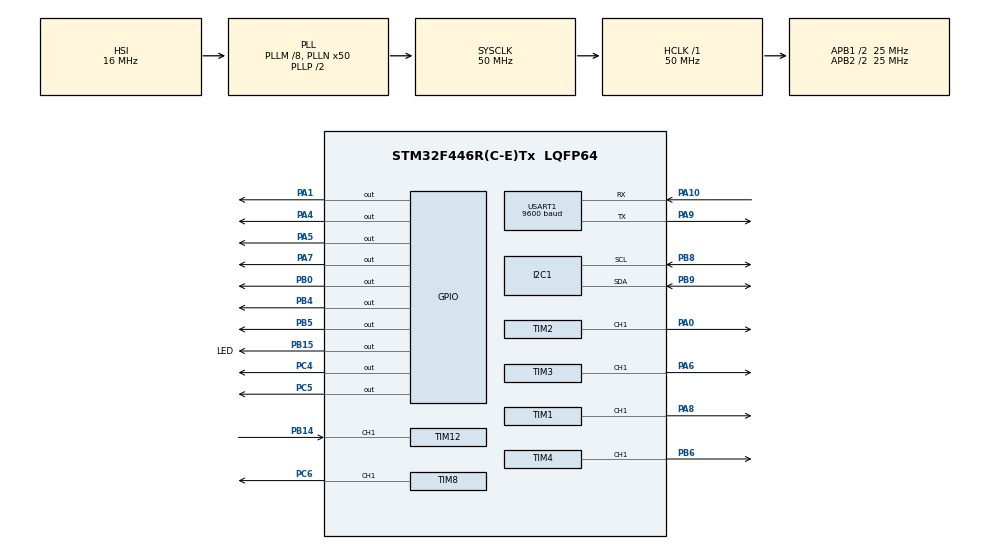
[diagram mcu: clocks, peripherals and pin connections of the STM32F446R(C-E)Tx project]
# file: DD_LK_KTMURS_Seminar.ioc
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Mcu.Family=STM32F4
Mcu.Name=STM32F446R(C-E)Tx
Mcu.Package=LQFP64
NVIC.PriorityGroup=NVIC_PRIORITYGROUP_4
NVIC.TIM8_BRK_TIM12_IRQn=true\:0\:0\:false\:false\:true\:true\:true\:true
NVIC.USART1_IRQn=true\:2\:0\:true\:false\:true\:true\:true\:true
PA0-WKUP.Signal=S_TIM2_CH1_ETR
PA1.Signal=GPIO_Output
PA10.Mode=Asynchronous
PA10.Signal=USART1_RX
PA13.Mode=Serial_Wire
PA13.Signal=SYS_JTMS-SWDIO
PA14.Mode=Serial_Wire
PA14.Signal=SYS_JTCK-SWCLK
PA4.Signal=GPIO_Output
PA5.Signal=GPIO_Output
PA6.Signal=S_TIM3_CH1
PA7.Signal=GPIO_Output
PA8.Signal=S_TIM1_CH1
PA9.Mode=Asynchronous
PA9.Signal=USART1_TX
PB0.Signal=GPIO_Output
PB14.Signal=S_TIM12_CH1
PB15.GPIO_Label=LED
PB15.Signal=GPIO_Output
PB4.Signal=GPIO_Output
PB5.Signal=GPIO_Output
PB6.Signal=S_TIM4_CH1
PB8.GPIO_Pu=GPIO_PULLUP
PB8.Mode=I2C
PB8.Signal=I2C1_SCL
PB9.GPIO_Pu=GPIO_PULLUP
PB9.Mode=I2C
PB9.Signal=I2C1_SDA
PC4.Signal=GPIO_Output
PC5.Signal=GPIO_Output
PC6.Signal=S_TIM8_CH1
ProjectManager.HeapSize=0x200
ProjectManager.StackSize=0x400
ProjectManager.TargetToolchain=STM32CubeIDE
RCC.AHBFreq_Value=50000000
RCC.APB1CLKDivider=RCC_HCLK_DIV2
RCC.APB1Freq_Value=25000000
RCC.APB1TimFreq_Value=50000000
RCC.APB2CLKDivider=RCC_HCLK_DIV2
RCC.APB2Freq_Value=25000000
RCC.APB2TimFreq_Value=50000000
RCC.CortexFreq_Value=50000000
RCC.HCLKFreq_Value=50000000
RCC.PLLM=8
RCC.PLLN=50
RCC.SYSCLKFreq_VALUE=50000000
RCC.SYSCLKSource=RCC_SYSCLKSOURCE_PLLCLK
RCC.USBFreq_Value=50000000
RCC.VCOOutputFreq_Value=100000000
SH.S_TIM12_CH1.0=TIM12_CH1,Input_Capture1_from_TI1
SH.S_TIM1_CH1.0=TIM1_CH1,PWM Generation1 CH1
SH.S_TIM2_CH1_ETR.0=TIM2_CH1,PWM Generation1 CH1
SH.S_TIM3_CH1.0=TIM3_CH1,PWM Generation1 CH1
SH.S_TIM4_CH1.0=TIM4_CH1,PWM Generation1 CH1
SH.S_TIM8_CH1.0=TIM8_CH1,PWM Generation1 CH1
TIM1.Channel-PWM\ Generation1\ CH1=TIM_CHANNEL_1
TIM1.Period=1000-1
TIM1.Prescaler=84-1
TIM12.Channel-Input_Capture1_from_TI1=TIM_CHANNEL_1
TIM12.Prescaler=83
TIM2.Channel-PWM\ Generation1\ CH1=TIM_CHANNEL_1
TIM2.Period=1000-1
TIM2.Prescaler=84-1
TIM3.Channel-PWM\ Generation1\ CH1=TIM_CHANNEL_1
TIM3.Period=1000-1
TIM3.Prescaler=84-1
TIM4.Channel-PWM\ Generation1\ CH1=TIM_CHANNEL_1
TIM4.Period=1000-1
TIM4.Prescaler=84-1
TIM8.Channel-PWM\ Generation1\ CH1=TIM_CHANNEL_1
TIM8.Prescaler=50-1
USART1.BaudRate=9600
USART1.VirtualMode=VM_ASYNC
board=custom

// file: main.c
/* USER CODE BEGIN Header */
	/**
	  ******************************************************************************
	  * @file           : main.c
	  * @brief          : Main program body
	  ******************************************************************************
	  * @attention
	  *
	  * Copyright (c) 2025 STMicroelectronics.
	  * All rights reserved.
	  *
	  * This software is licensed under terms that can be found in the LICENSE file
	  * in the root directory of this software component.
	  * If no LICENSE file comes with this software, it is provided AS-IS.
	  *
	  ******************************************************************************
	  */
/* USER CODE END Header */
#include "main.h"
#include "i2c.h"
#include "tim.h"
#include "usart.h"
#include "gpio.h"

/* USER CODE BEGIN Includes */
#include <stdlib.h> // za atoi
#include <string.h>

#include <stdio.h>
#ifdef _GNUC_
#define PUTCHAR_PROTOTYPE int __io_putchar(int ch)// Definicija funkcije za ispis znaka (koristi se za printf redirekciju)
#define GETCHAR_PROTOTYPE int __io_getchar(void)// Definicija funkcije za unos znaka (koristi se za getchar)
#else
#define PUTCHAR_PROTOTYPE int fputc(int ch, FILE *f)// Alternativna definicija funkcije za ispis znaka
#define GETCHAR_PROTOTYPE int fgetc(FILE *f)// Alternativna definicija funkcije za unos znaka
#endif

volatile uint8_t distance_ready = 0;// Globalna varijabla koja označava da je udaljenost uspješno izmjerena
volatile uint8_t lcd_needs_update = 0;// Globalna varijabla koja može označavati da LCD treba biti ažuriran
char lcd_message[16];// Niz znakova (string) duljine 16 znakova za prikaz poruke na LCD zaslonu
/* USER CODE END Includes */

/* USER CODE BEGIN PV */
uint8_t rx_data;// Varijabla za spremanje primljenog znaka
extern TIM_HandleTypeDef htim3; // Vanjska deklaracija upravljačke strukture za tajmer TIM3
uint32_t echo_start = 0;// Vrijeme kada je ECHO pin prešao u HIGH (početak mjerenja udaljenosti)
uint32_t echo_end = 0;// Vrijeme kada je ECHO pin prešao u LOW (kraj mjerenja udaljenosti)
uint8_t  capturing = 0;// Oznaka je li trenutno u tijeku mjerenje udaljenosti
float distance_cm = 0;// Izračunata udaljenost u centimetrima na temelju trajanja ECHO impulsa
char last_command = 'S'; // zadnja zaprimljena komanda ('F', 'B', 'L', 'R', 'S')

/* USER CODE END PV */

void SystemClock_Config(void);
/* USER CODE BEGIN PFP */
void pogon(void);// Deklaracija funkcije za upravljanje pogonom (motorima) na temelju primljenih podataka
void ultrasonic_trigger(void);// Deklaracija funkcije koja pokreće ultrazvučni senzor — šalje impuls na TRIG pin i pokreće mjerenje udaljenosti
/* USER CODE END PFP */

/* USER CODE BEGIN 0 */
	// Funkcija za pokretanje ultrazvučnog senzora – šalje TRIG impuls i pokreće mjerenje vremena ECHO signala
	void ultrasonic_trigger(void)
	{
		 capturing = 0;// Resetiramo status
		 __HAL_TIM_DISABLE_IT(&htim2, TIM_IT_CC2); // Privremeno isključujemo interrupt na kanalu 2 timer-a 2 (TIM2_CH2)
		 __HAL_TIM_SET_COUNTER(&htim2, 0); // Resetiramo brojač timer-a na 0

		 // Postavljamo da se prekid okida na uzlazni brid (početak ECHO signala)
		 __HAL_TIM_SET_CAPTUREPOLARITY(&htim2, TIM_CHANNEL_2, TIM_INPUTCHANNELPOLARITY_RISING);
		 __HAL_TIM_ENABLE_IT(&htim2, TIM_IT_CC2); // Ponovno omogućavamo interrupt za CH2

		 // Trigger impuls na TRIG pinu
		 HAL_GPIO_WritePin(GPIOC, GPIO_PIN_5, GPIO_PIN_RESET);// Najprije ga postavimo na nisku razinu
		 HAL_Delay(2);// Pauza (2 ms)
		 HAL_GPIO_WritePin(GPIOC, GPIO_PIN_5, GPIO_PIN_SET);// Postavljamo na visoku razinu (aktivacija TRIG)
		 for (volatile int i = 0; i < 300; i++);  // kratak delay (10–15 us ovisno o takta)
		 HAL_GPIO_WritePin(GPIOC, GPIO_PIN_5, GPIO_PIN_RESET);// Vraćamo TRIG na nisku razinu (završetak impulsa)
	}

	// Callback funkcija koja se automatski poziva kad UART primi jedan bajt podataka
	void HAL_UART_RxCpltCallback(UART_HandleTypeDef *huart)
	{
		// Provjeravamo je li UART koji je primio podatak baš USART1
		if (huart->Instance == USART1)
		{
			last_command = rx_data; // spremi zadnju komandu
			pogon();// Pokrećemo funkciju za upravljanje motorima na temelju primljenog znaka
			HAL_UART_Receive_IT(&huart1, &rx_data, 1);// Ponovno aktiviramo primanje sljedećeg znaka u interrupt modu
		}
	}

	void pogon()
	{
		// Provjera je li primljen znak 'F' (naprijed)
		if (rx_data == 'F')

				{
			// Postavljanje PWM vrijednosti (duty cycle) za 4 motora – 75%
				__HAL_TIM_SET_COMPARE(&htim1, TIM_CHANNEL_1, 750);// PWM za motor 1
				__HAL_TIM_SET_COMPARE(&htim2, TIM_CHANNEL_1, 750);// PWM za motor 2
				__HAL_TIM_SET_COMPARE(&htim3, TIM_CHANNEL_1, 750);// PWM za motor 3
				__HAL_TIM_SET_COMPARE(&htim4, TIM_CHANNEL_1, 750);// PWM za motor 4

				//zadnji desni
				HAL_GPIO_WritePin(GPIOA, GPIO_PIN_1, 1); //IN2
				HAL_GPIO_WritePin(GPIOA, GPIO_PIN_5, 0); //IN1
				//prednji lijevi
				HAL_GPIO_WritePin(GPIOA, GPIO_PIN_7, 1); //IN21
				HAL_GPIO_WritePin(GPIOC, GPIO_PIN_4, 0); //IN22
				//prednji desni
				HAL_GPIO_WritePin(GPIOB, GPIO_PIN_5, 1); //IN3
				HAL_GPIO_WritePin(GPIOA, GPIO_PIN_4, 0); //IN4
				//zadnji lijevi
				HAL_GPIO_WritePin(GPIOB, GPIO_PIN_0, 1); //IN23
				HAL_GPIO_WritePin(GPIOB, GPIO_PIN_4, 0); //IN24
				}

			else if (rx_data == 'B')

				{
				// Postavi PWM duty cycle na 750
				__HAL_TIM_SET_COMPARE(&htim1, TIM_CHANNEL_1, 750);
				__HAL_TIM_SET_COMPARE(&htim2, TIM_CHANNEL_1, 750);
				__HAL_TIM_SET_COMPARE(&htim3, TIM_CHANNEL_1, 750);
				__HAL_TIM_SET_COMPARE(&htim4, TIM_CHANNEL_1, 750);

				//zadnji desni
				HAL_GPIO_WritePin(GPIOA, GPIO_PIN_1, 0); //IN2
				HAL_GPIO_WritePin(GPIOA, GPIO_PIN_5, 1); //IN1
				//prednji lijevi
				HAL_GPIO_WritePin(GPIOA, GPIO_PIN_7, 0); //IN21
				HAL_GPIO_WritePin(GPIOC, GPIO_PIN_4, 1); //IN22
				//prednji desni
				HAL_GPIO_WritePin(GPIOB, GPIO_PIN_5, 0); //IN3
				HAL_GPIO_WritePin(GPIOA, GPIO_PIN_4, 1); //IN4
				//zadnji lijevi
				HAL_GPIO_WritePin(GPIOB, GPIO_PIN_0, 0); //IN23
				HAL_GPIO_WritePin(GPIOB, GPIO_PIN_4, 1); //IN24

				}

			else if (rx_data == 'S')

				{
				// Postavi PWM duty cycle na 0
				__HAL_TIM_SET_COMPARE(&htim1, TIM_CHANNEL_1, 0);
				__HAL_TIM_SET_COMPARE(&htim2, TIM_CHANNEL_1, 0);
				__HAL_TIM_SET_COMPARE(&htim3, TIM_CHANNEL_1, 0);
				__HAL_TIM_SET_COMPARE(&htim4, TIM_CHANNEL_1, 0);

			    //zadnji desni
				HAL_GPIO_WritePin(GPIOA, GPIO_PIN_1, 0); //IN2
				HAL_GPIO_WritePin(GPIOA, GPIO_PIN_5, 0); //IN1
				//prednji lijevi
				HAL_GPIO_WritePin(GPIOA, GPIO_PIN_7, 0); //IN21
				HAL_GPIO_WritePin(GPIOC, GPIO_PIN_4, 0); //IN22
				//prednji desni
				HAL_GPIO_WritePin(GPIOB, GPIO_PIN_5, 0); //IN3
				HAL_GPIO_WritePin(GPIOA, GPIO_PIN_4, 0); //IN4
				//zadnji lijevi
				HAL_GPIO_WritePin(GPIOB, GPIO_PIN_0, 0); //IN23
				HAL_GPIO_WritePin(GPIOB, GPIO_PIN_4, 0); //IN24

				}

			else if (rx_data == 'R')

				{
				// Postavi PWM duty cycle na 750
				__HAL_TIM_SET_COMPARE(&htim1, TIM_CHANNEL_1, 500);
				__HAL_TIM_SET_COMPARE(&htim2, TIM_CHANNEL_1, 500);
				__HAL_TIM_SET_COMPARE(&htim3, TIM_CHANNEL_1, 750);
				__HAL_TIM_SET_COMPARE(&htim4, TIM_CHANNEL_1, 750);

				//zadnji desni
				HAL_GPIO_WritePin(GPIOA, GPIO_PIN_1, 0); //IN2
				HAL_GPIO_WritePin(GPIOA, GPIO_PIN_5, 1); //IN1
				//prednji lijevi
				HAL_GPIO_WritePin(GPIOA, GPIO_PIN_7, 1); //IN21
				HAL_GPIO_WritePin(GPIOC, GPIO_PIN_4, 0); //IN22
				//prednji desni
				HAL_GPIO_WritePin(GPIOB, GPIO_PIN_5, 0); //IN3
				HAL_GPIO_WritePin(GPIOA, GPIO_PIN_4, 1); //IN4
				//zadnji lijevi
				HAL_GPIO_WritePin(GPIOB, GPIO_PIN_0, 1); //IN23
				HAL_GPIO_WritePin(GPIOB, GPIO_PIN_4, 0); //IN24

					}

			else if (rx_data == 'L')

				{
				// Postavi PWM duty cycle na 750
				__HAL_TIM_SET_COMPARE(&htim1, TIM_CHANNEL_1, 750);
				__HAL_TIM_SET_COMPARE(&htim2, TIM_CHANNEL_1, 750);
				__HAL_TIM_SET_COMPARE(&htim3, TIM_CHANNEL_1, 500);
				__HAL_TIM_SET_COMPARE(&htim4, TIM_CHANNEL_1, 500);

				//zadnji desni
				HAL_GPIO_WritePin(GPIOA, GPIO_PIN_1, 1); //IN2
				HAL_GPIO_WritePin(GPIOA, GPIO_PIN_5, 0); //IN1
				//prednji lijevi
				HAL_GPIO_WritePin(GPIOA, GPIO_PIN_7, 0); //IN21
				HAL_GPIO_WritePin(GPIOC, GPIO_PIN_4, 1); //IN22
				//prednji desni
				HAL_GPIO_WritePin(GPIOB, GPIO_PIN_5, 1); //IN3
				HAL_GPIO_WritePin(GPIOA, GPIO_PIN_4, 0); //IN4
				//zadnji lijevi
				HAL_GPIO_WritePin(GPIOB, GPIO_PIN_0, 0); //IN23
				HAL_GPIO_WritePin(GPIOB, GPIO_PIN_4, 1); //IN24

			}
	}

	void HAL_TIM_IC_CaptureCallback(TIM_HandleTypeDef *htim)
	{
		// Provjera je li interrupt došao s timera TIM12 i kanala CH1
	    if (htim->Instance == TIM12 && htim->Channel == HAL_TIM_ACTIVE_CHANNEL_1)
	    {
	    	// Ako još nije započeto mjerenje (čekamo početak impulsa)
	        if (capturing == 0)
	        {
	        	// Pohrani vrijednost vremena kad je signal narastao (RISING edge) – početak impulsa
	            echo_start = HAL_TIM_ReadCapturedValue(htim, TIM_CHANNEL_1);
	            capturing = 1; // Oznaci da je mjerenje u tijeku
	            // Postavi polaritet na FALLING kako bismo uhvatili kraj impulsa (kad signal padne)
	            __HAL_TIM_SET_CAPTUREPOLARITY(htim, TIM_CHANNEL_1, TIM_INPUTCHANNELPOLARITY_FALLING);
	        }
	        else // Ako je signal već narastao i sada pada – završetak impulsa
	        {
	        	// Pohrani vrijednost vremena kada je signal pao (FALLING edge)
	            echo_end = HAL_TIM_ReadCapturedValue(htim, TIM_CHANNEL_1);
	            capturing = 0;// Oznaci da je mjerenje završeno
	            // Vrati polaritet na RISING za sljedeće mjerenje
	            __HAL_TIM_SET_CAPTUREPOLARITY(htim, TIM_CHANNEL_1, TIM_INPUTCHANNELPOLARITY_RISING);
	            // Izračunaj trajanje impulsa, uz provjeru je li se brojač preokrenuo
	            uint32_t duration = (echo_end > echo_start) ?
	                (echo_end - echo_start) :
	                (0xFFFF - echo_start + echo_end);

	            distance_cm = duration / 58.0f;  // Pretvori trajanje impulsa u centimetre (brzina zvuka = 343 m/s → 58 µs/cm)
	            distance_ready = 1;// Oznaci da je udaljenost spremna za korištenje
	        }
	    }
	}

/* USER CODE END 0 */

int main(void)
{

  /* USER CODE BEGIN 1 */
	  setvbuf(stdin, NULL, _IONBF, 0);
  /* USER CODE END 1 */

  /* MCU Configuration--------------------------------------------------------*/

  /* Reset of all peripherals, Initializes the Flash interface and the Systick. */
  HAL_Init();

  /* Configure the system clock */
  SystemClock_Config();

  /* Initialize all configured peripherals */
  MX_GPIO_Init();
  MX_TIM1_Init();
  MX_TIM2_Init();
  MX_USART1_UART_Init();
  MX_TIM3_Init();
  MX_TIM4_Init();
  MX_TIM8_Init();
  MX_I2C1_Init();
  MX_TIM12_Init();
  /* USER CODE BEGIN 2 */

	  // Inicijalizacija LCD-a
	  lcd_init(&hi2c1);

	  // Postavljanje kursora na prvi red, prvu poziciju
	  lcd_put_cursor(0, 0);
	  lcd_send_string("Startamo...");
	  HAL_Delay(1000);

	  // Slanje teksta na LCD
	  //lcd_send_string("Spreman");

	  HAL_UART_Receive_IT(&huart1, &rx_data, 1); // Pokreni primanje znaka putem Bluetootha

	  // Pokrećemo PWM signale na 4 različita timera – svaki timer kontrolira brzinu jednog motora (kroz ENA/ENB pinove H-mostova)
	  HAL_TIM_PWM_Start(&htim1, TIM_CHANNEL_1);
	  HAL_TIM_PWM_Start(&htim2, TIM_CHANNEL_1);
	  HAL_TIM_PWM_Start(&htim3, TIM_CHANNEL_1);
	  HAL_TIM_PWM_Start(&htim4, TIM_CHANNEL_1);
	  HAL_TIM_IC_Start_IT(&htim12, TIM_CHANNEL_1);// Pokreće input capture s prekidima na timeru TIM12 kanal 1 – koristi se za mjerenje trajanja ECHO
	  HAL_TIM_PWM_Start(&htim8, TIM_CHANNEL_1);// Pokreće PWM signal za zujalicu (buzzer), na TIM8 – kontrolira jačinu tona ovisno o udaljenosti

  /* USER CODE END 2 */

  /* Infinite loop */
  /* USER CODE BEGIN WHILE */
	 while (1)
	  {
		 ultrasonic_trigger(); // Pokreće slanje ultrazvučnog impulsa preko TRIG pina (PC5) i priprema za mjerenje ECHO impulsa
		 while (capturing);  // Čeka dok se mjerenje ne završi
		 HAL_Delay(100);// Pauza od 100 ms između svakog mjerenja (za stabilnost)

			 // čekaj da rezultat bude spreman
			 if (distance_ready)
			 {
				 lcd_clear();// Briše LCD prikaz
				 lcd_put_cursor(0, 0);// Postavlja kursor na početak prvog reda

				 if (distance_cm <= 10.0f) {
					 lcd_send_string("Pazi zid!");// Ako je prepreka jako blizu, upozori
				 } else {
					 char buffer[16];
					 // Formatira string s udaljenosti na najbliži cijeli broj
					 sprintf(buffer, "Udaljenost:%d cm", (int)(distance_cm + 0.5f));
					 lcd_send_string(buffer);// Ispisuje na LCD
				 }

				 distance_ready = 0;// Resetira flag za sljedeće mjerenje
				 // Ovisno o udaljenosti, podešava zvuk zujalice (PWM)
				 if (distance_cm <= 10.0f) {
							__HAL_TIM_SET_COMPARE(&htim8, TIM_CHANNEL_1, 32767); // glasno (50% duty)
							// Pošalji poruku preko UART (Bluetooth)
							HAL_UART_Transmit(&huart1, (uint8_t*)"Pazi zid!\r\n", strlen("Pazi zid!\r\n"), HAL_MAX_DELAY);

						} else if (distance_cm <= 15.0f) {
							__HAL_TIM_SET_COMPARE(&htim8, TIM_CHANNEL_1, 16383); // srednje
						} else if (distance_cm <= 20.0f) {
							__HAL_TIM_SET_COMPARE(&htim8, TIM_CHANNEL_1, 8191); // tiho
						} else {
							__HAL_TIM_SET_COMPARE(&htim8, TIM_CHANNEL_1, 0); // isključi zvuk
						}
				 // LED signalizacija prema udaljenosti
				 if (distance_cm < 10.0f) {
					 HAL_GPIO_WritePin(GPIOB, GPIO_PIN_15, GPIO_PIN_SET);  // LED svijetli stalno
				 } else if (distance_cm < 20.0f) {
					 static uint32_t last_blink = 0;
					 if (HAL_GetTick() - last_blink > 300) { // blink svakih 300 ms
						 HAL_GPIO_TogglePin(GPIOB, GPIO_PIN_15);
						 last_blink = HAL_GetTick();
					 }
				 } else {
					 HAL_GPIO_WritePin(GPIOB, GPIO_PIN_15, GPIO_PIN_RESET);  // LED ugašena
				 }
				 // Ako je udaljenost manja od 10 cm i ne pokušavaš ići unazad ('B')
				 if (distance_cm < 10.0f && last_command != 'B') {
					 // Stop PWM
					 // Postavi PWM duty cycle na 0
					__HAL_TIM_SET_COMPARE(&htim1, TIM_CHANNEL_1, 0);
					__HAL_TIM_SET_COMPARE(&htim2, TIM_CHANNEL_1, 0);
					__HAL_TIM_SET_COMPARE(&htim3, TIM_CHANNEL_1, 0);
					__HAL_TIM_SET_COMPARE(&htim4, TIM_CHANNEL_1, 0);

					//zadnji desni
					HAL_GPIO_WritePin(GPIOA, GPIO_PIN_1, 0); //IN2
					HAL_GPIO_WritePin(GPIOA, GPIO_PIN_5, 0); //IN1
					//prednji lijevi
					HAL_GPIO_WritePin(GPIOA, GPIO_PIN_7, 0); //IN12
					HAL_GPIO_WritePin(GPIOC, GPIO_PIN_4, 0); //IN22
					//prednji desni
					HAL_GPIO_WritePin(GPIOB, GPIO_PIN_5, 0); //IN3
					HAL_GPIO_WritePin(GPIOA, GPIO_PIN_4, 0); //IN4
					//zadnji lijevi
					HAL_GPIO_WritePin(GPIOB, GPIO_PIN_0, 0); //IN23
					HAL_GPIO_WritePin(GPIOB, GPIO_PIN_4, 0); //IN24
				 }

			 }

			 HAL_Delay(400);

	  }
    /* USER CODE END WHILE */

}

void SystemClock_Config(void)
{
  RCC_OscInitTypeDef RCC_OscInitStruct = {0};
  RCC_ClkInitTypeDef RCC_ClkInitStruct = {0};

  /** Configure the main internal regulator output voltage
  */
  __HAL_RCC_PWR_CLK_ENABLE();
  __HAL_PWR_VOLTAGESCALING_CONFIG(PWR_REGULATOR_VOLTAGE_SCALE3);

  /** Initializes the RCC Oscillators according to the specified parameters
  * in the RCC_OscInitTypeDef structure.
  */
  RCC_OscInitStruct.OscillatorType = RCC_OSCILLATORTYPE_HSI;
  RCC_OscInitStruct.HSIState = RCC_HSI_ON;
  RCC_OscInitStruct.HSICalibrationValue = RCC_HSICALIBRATION_DEFAULT;
  RCC_OscInitStruct.PLL.PLLState = RCC_PLL_ON;
  RCC_OscInitStruct.PLL.PLLSource = RCC_PLLSOURCE_HSI;
  RCC_OscInitStruct.PLL.PLLM = 8;
  RCC_OscInitStruct.PLL.PLLN = 50;
  RCC_OscInitStruct.PLL.PLLP = RCC_PLLP_DIV2;
  RCC_OscInitStruct.PLL.PLLQ = 2;
  RCC_OscInitStruct.PLL.PLLR = 2;
  if (HAL_RCC_OscConfig(&RCC_OscInitStruct) != HAL_OK)
  {
    Error_Handler();
  }

  /** Initializes the CPU, AHB and APB buses clocks
  */
  RCC_ClkInitStruct.ClockType = RCC_CLOCKTYPE_HCLK|RCC_CLOCKTYPE_SYSCLK
                              |RCC_CLOCKTYPE_PCLK1|RCC_CLOCKTYPE_PCLK2;
  RCC_ClkInitStruct.SYSCLKSource = RCC_SYSCLKSOURCE_PLLCLK;
  RCC_ClkInitStruct.AHBCLKDivider = RCC_SYSCLK_DIV1;
  RCC_ClkInitStruct.APB1CLKDivider = RCC_HCLK_DIV2;
  RCC_ClkInitStruct.APB2CLKDivider = RCC_HCLK_DIV2;

  if (HAL_RCC_ClockConfig(&RCC_ClkInitStruct, FLASH_LATENCY_1) != HAL_OK)
  {
    Error_Handler();
  }
}

void Error_Handler(void)
{
	  __disable_irq();
	  while (1)
	  {
	  }
}
